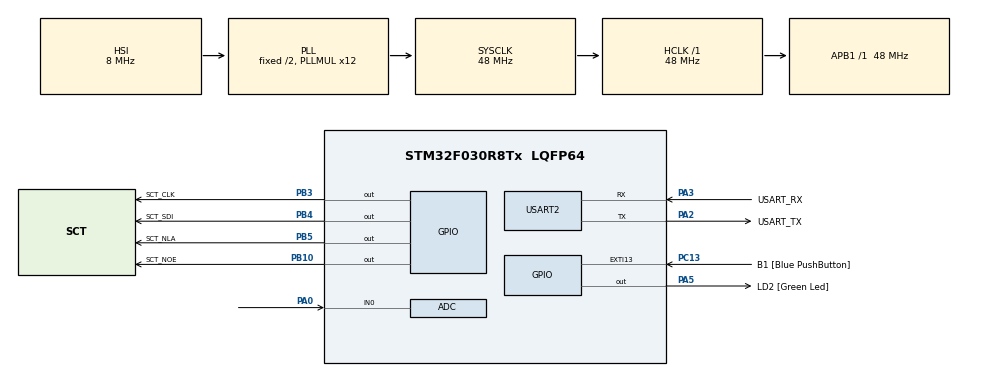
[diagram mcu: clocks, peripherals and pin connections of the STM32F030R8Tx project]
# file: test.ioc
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ADC.Overrun=ADC_OVR_DATA_OVERWRITTEN
ADC.SamplingTime=ADC_SAMPLETIME_239CYCLES_5
Mcu.Family=STM32F0
Mcu.Name=STM32F030R8Tx
Mcu.Package=LQFP64
NVIC.ADC1_IRQn=true\:0\:0\:false\:false\:true\:true\:true\:true
PA0.Mode=IN0
PA0.Signal=ADC_IN0
PA13.GPIO_Label=TMS
PA13.Mode=Serial_Wire
PA13.Signal=SYS_SWDIO
PA14.GPIO_Label=TCK
PA14.Mode=Serial_Wire
PA14.Signal=SYS_SWCLK
PA2.GPIO_Label=USART_TX
PA2.GPIO_Mode=GPIO_MODE_AF_PP
PA2.GPIO_PuPd=GPIO_NOPULL
PA2.GPIO_Speed=GPIO_SPEED_FREQ_LOW
PA2.Mode=Asynchronous
PA2.Signal=USART2_TX
PA3.GPIO_Label=USART_RX
PA3.GPIO_Mode=GPIO_MODE_AF_PP
PA3.GPIO_PuPd=GPIO_NOPULL
PA3.GPIO_Speed=GPIO_SPEED_FREQ_LOW
PA3.Mode=Asynchronous
PA3.Signal=USART2_RX
PA5.GPIO_Label=LD2 [Green Led]
PA5.GPIO_Mode=GPIO_MODE_OUTPUT_PP
PA5.GPIO_PuPd=GPIO_NOPULL
PA5.GPIO_Speed=GPIO_SPEED_FREQ_LOW
PA5.Signal=GPIO_Output
PB10.GPIO_Label=SCT_NOE
PB10.Signal=GPIO_Output
PB3.GPIO_Label=SCT_CLK
PB3.Signal=GPIO_Output
PB4.GPIO_Label=SCT_SDI
PB4.Signal=GPIO_Output
PB5.GPIO_Label=SCT_NLA
PB5.Signal=GPIO_Output
PC13.GPIO_Label=B1 [Blue PushButton]
PC13.GPIO_ModeDefaultEXTI=GPIO_MODE_IT_FALLING
PC13.Signal=GPXTI13
PC14-OSC32_IN.Mode=LSE-External-Oscillator
PC14-OSC32_IN.Signal=RCC_OSC32_IN
PC15-OSC32_OUT.Mode=LSE-External-Oscillator
PC15-OSC32_OUT.Signal=RCC_OSC32_OUT
PF0-OSC_IN.Mode=HSE-External-Clock-Source
PF0-OSC_IN.Signal=RCC_OSC_IN
PF1-OSC_OUT.Signal=RCC_OSC_OUT
ProjectManager.HeapSize=0x200
ProjectManager.StackSize=0x400
ProjectManager.TargetToolchain=STM32CubeIDE
RCC.AHBFreq_Value=48000000
RCC.APB1Freq_Value=48000000
RCC.APB1TimFreq_Value=48000000
RCC.HCLKFreq_Value=48000000
RCC.PLLMUL=RCC_PLL_MUL12
RCC.SYSCLKFreq_VALUE=48000000
RCC.SYSCLKSource=RCC_SYSCLKSOURCE_PLLCLK
USART2.VirtualMode-Asynchronous=VM_ASYNC
board=NUCLEO-F030R8

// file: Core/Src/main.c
/* USER CODE BEGIN Header */
/**
  ******************************************************************************
  * @file           : main.c
  * @brief          : Main program body
  ******************************************************************************
  * @attention
  *
  * Copyright (c) 2023 STMicroelectronics.
  * All rights reserved.
  *
  * This software is licensed under terms that can be found in the LICENSE file
  * in the root directory of this software component.
  * If no LICENSE file comes with this software, it is provided AS-IS.
  *
  ******************************************************************************
  */
/* USER CODE END Header */
#include "main.h"

/* USER CODE BEGIN Includes */
#include "sct.h"
/* USER CODE END Includes */

/* USER CODE BEGIN PD */
#define ADC_Q 12
/* Temperature sensor calibration value address */

/* USER CODE END PD */

ADC_HandleTypeDef hadc;

UART_HandleTypeDef huart2;

void SystemClock_Config(void);
static void MX_GPIO_Init(void);
static void MX_USART2_UART_Init(void);
static void MX_ADC_Init(void);

/* USER CODE BEGIN 0 */
static volatile uint32_t raw_pot;

void HAL_ADC_ConvCpltCallback(ADC_HandleTypeDef *hadc)
{
	static uint32_t avg_pot;
	raw_pot = avg_pot >> ADC_Q;
	avg_pot -= raw_pot;
	avg_pot += HAL_ADC_GetValue(hadc);
}

/* USER CODE END 0 */

int main(void)
{

  /* MCU Configuration--------------------------------------------------------*/

  /* Reset of all peripherals, Initializes the Flash interface and the Systick. */
  HAL_Init();

  /* Configure the system clock */
  SystemClock_Config();

  /* Initialize all configured peripherals */
  MX_GPIO_Init();
  MX_USART2_UART_Init();
  MX_ADC_Init();
  /* USER CODE BEGIN 2 */
  sct_init();
  HAL_ADCEx_Calibration_Start(&hadc);
  HAL_ADC_Start_IT(&hadc);

  /* USER CODE END 2 */

  /* Infinite loop */
  /* USER CODE BEGIN WHILE */
  static uint32_t delay;
  static uint32_t LEDposition=0;
  static uint32_t direction=1;

  while (1)
  {		// Direction of knight rider
		if (LEDposition == 0)
		{
			direction = 1;
		}
		else if (LEDposition==9)
		{
			direction = 0;
		}

		// Current position for LEDs
		if (direction == 1)
		{
			LEDposition++;
		}
		else if (direction == 0)
		{
			LEDposition--;
		}

		delay = (raw_pot * (500 + 1)) / 4095;

		if (delay < 20)
		{
			delay = 20;
		}

		sct_value(delay, LEDposition);
		HAL_Delay(delay);
		/* USER CODE END WHILE */
	}
}

void SystemClock_Config(void)
{
  RCC_OscInitTypeDef RCC_OscInitStruct = {0};
  RCC_ClkInitTypeDef RCC_ClkInitStruct = {0};

  /** Initializes the RCC Oscillators according to the specified parameters
  * in the RCC_OscInitTypeDef structure.
  */
  RCC_OscInitStruct.OscillatorType = RCC_OSCILLATORTYPE_HSI|RCC_OSCILLATORTYPE_HSI14;
  RCC_OscInitStruct.HSIState = RCC_HSI_ON;
  RCC_OscInitStruct.HSI14State = RCC_HSI14_ON;
  RCC_OscInitStruct.HSICalibrationValue = RCC_HSICALIBRATION_DEFAULT;
  RCC_OscInitStruct.HSI14CalibrationValue = 16;
  RCC_OscInitStruct.PLL.PLLState = RCC_PLL_ON;
  RCC_OscInitStruct.PLL.PLLSource = RCC_PLLSOURCE_HSI;
  RCC_OscInitStruct.PLL.PLLMUL = RCC_PLL_MUL12;
  RCC_OscInitStruct.PLL.PREDIV = RCC_PREDIV_DIV1;
  if (HAL_RCC_OscConfig(&RCC_OscInitStruct) != HAL_OK)
  {
    Error_Handler();
  }

  /** Initializes the CPU, AHB and APB buses clocks
  */
  RCC_ClkInitStruct.ClockType = RCC_CLOCKTYPE_HCLK|RCC_CLOCKTYPE_SYSCLK
                              |RCC_CLOCKTYPE_PCLK1;
  RCC_ClkInitStruct.SYSCLKSource = RCC_SYSCLKSOURCE_PLLCLK;
  RCC_ClkInitStruct.AHBCLKDivider = RCC_SYSCLK_DIV1;
  RCC_ClkInitStruct.APB1CLKDivider = RCC_HCLK_DIV1;

  if (HAL_RCC_ClockConfig(&RCC_ClkInitStruct, FLASH_LATENCY_1) != HAL_OK)
  {
    Error_Handler();
  }
}

static void MX_ADC_Init(void)
{

  ADC_ChannelConfTypeDef sConfig = {0};

  /** Configure the global features of the ADC (Clock, Resolution, Data Alignment and number of conversion)
  */
  hadc.Instance = ADC1;
  hadc.Init.ClockPrescaler = ADC_CLOCK_ASYNC_DIV1;
  hadc.Init.Resolution = ADC_RESOLUTION_12B;
  hadc.Init.DataAlign = ADC_DATAALIGN_RIGHT;
  hadc.Init.ScanConvMode = ADC_SCAN_DIRECTION_FORWARD;
  hadc.Init.EOCSelection = ADC_EOC_SINGLE_CONV;
  hadc.Init.LowPowerAutoWait = DISABLE;
  hadc.Init.LowPowerAutoPowerOff = DISABLE;
  hadc.Init.ContinuousConvMode = ENABLE;
  hadc.Init.DiscontinuousConvMode = DISABLE;
  hadc.Init.ExternalTrigConv = ADC_SOFTWARE_START;
  hadc.Init.ExternalTrigConvEdge = ADC_EXTERNALTRIGCONVEDGE_NONE;
  hadc.Init.DMAContinuousRequests = DISABLE;
  hadc.Init.Overrun = ADC_OVR_DATA_OVERWRITTEN;
  if (HAL_ADC_Init(&hadc) != HAL_OK)
  {
    Error_Handler();
  }

  /** Configure for the selected ADC regular channel to be converted.
  */
  sConfig.Channel = ADC_CHANNEL_0;
  sConfig.Rank = ADC_RANK_CHANNEL_NUMBER;
  sConfig.SamplingTime = ADC_SAMPLETIME_239CYCLES_5;
  if (HAL_ADC_ConfigChannel(&hadc, &sConfig) != HAL_OK)
  {
    Error_Handler();
  }

}

static void MX_USART2_UART_Init(void)
{

  huart2.Instance = USART2;
  huart2.Init.BaudRate = 38400;
  huart2.Init.WordLength = UART_WORDLENGTH_8B;
  huart2.Init.StopBits = UART_STOPBITS_1;
  huart2.Init.Parity = UART_PARITY_NONE;
  huart2.Init.Mode = UART_MODE_TX_RX;
  huart2.Init.HwFlowCtl = UART_HWCONTROL_NONE;
  huart2.Init.OverSampling = UART_OVERSAMPLING_16;
  huart2.Init.OneBitSampling = UART_ONE_BIT_SAMPLE_DISABLE;
  huart2.AdvancedInit.AdvFeatureInit = UART_ADVFEATURE_NO_INIT;
  if (HAL_UART_Init(&huart2) != HAL_OK)
  {
    Error_Handler();
  }

}

static void MX_GPIO_Init(void)
{
  GPIO_InitTypeDef GPIO_InitStruct = {0};

  /* GPIO Ports Clock Enable */
  __HAL_RCC_GPIOC_CLK_ENABLE();
  __HAL_RCC_GPIOF_CLK_ENABLE();
  __HAL_RCC_GPIOA_CLK_ENABLE();
  __HAL_RCC_GPIOB_CLK_ENABLE();

  /*Configure GPIO pin Output Level */
  HAL_GPIO_WritePin(LD2_GPIO_Port, LD2_Pin, GPIO_PIN_RESET);

  /*Configure GPIO pin Output Level */
  HAL_GPIO_WritePin(GPIOB, SCT_NOE_Pin|SCT_CLK_Pin|SCT_SDI_Pin|SCT_NLA_Pin, GPIO_PIN_RESET);

  /*Configure GPIO pin : B1_Pin */
  GPIO_InitStruct.Pin = B1_Pin;
  GPIO_InitStruct.Mode = GPIO_MODE_IT_FALLING;
  GPIO_InitStruct.Pull = GPIO_NOPULL;
  HAL_GPIO_Init(B1_GPIO_Port, &GPIO_InitStruct);

  /*Configure GPIO pin : LD2_Pin */
  GPIO_InitStruct.Pin = LD2_Pin;
  GPIO_InitStruct.Mode = GPIO_MODE_OUTPUT_PP;
  GPIO_InitStruct.Pull = GPIO_NOPULL;
  GPIO_InitStruct.Speed = GPIO_SPEED_FREQ_LOW;
  HAL_GPIO_Init(LD2_GPIO_Port, &GPIO_InitStruct);

  /*Configure GPIO pins : SCT_NOE_Pin SCT_CLK_Pin SCT_SDI_Pin SCT_NLA_Pin */
  GPIO_InitStruct.Pin = SCT_NOE_Pin|SCT_CLK_Pin|SCT_SDI_Pin|SCT_NLA_Pin;
  GPIO_InitStruct.Mode = GPIO_MODE_OUTPUT_PP;
  GPIO_InitStruct.Pull = GPIO_NOPULL;
  GPIO_InitStruct.Speed = GPIO_SPEED_FREQ_LOW;
  HAL_GPIO_Init(GPIOB, &GPIO_InitStruct);

}

void Error_Handler(void)
{
  __disable_irq();
  while (1)
  {
  }
}
